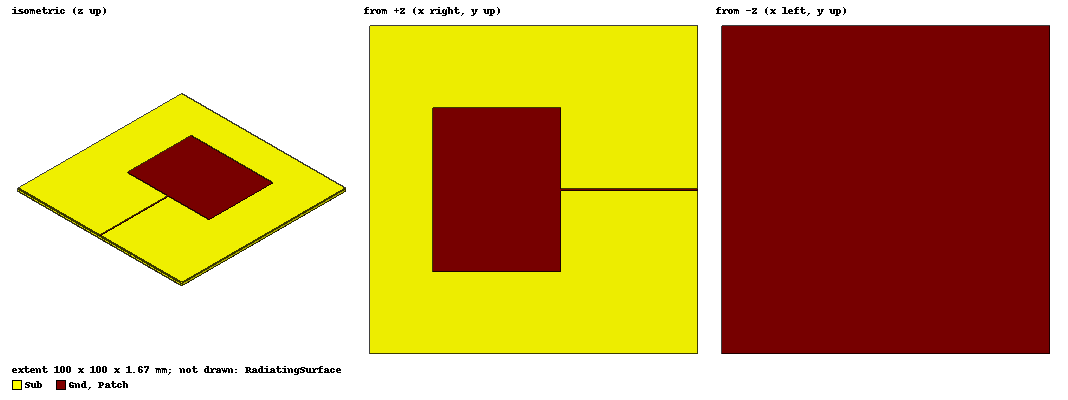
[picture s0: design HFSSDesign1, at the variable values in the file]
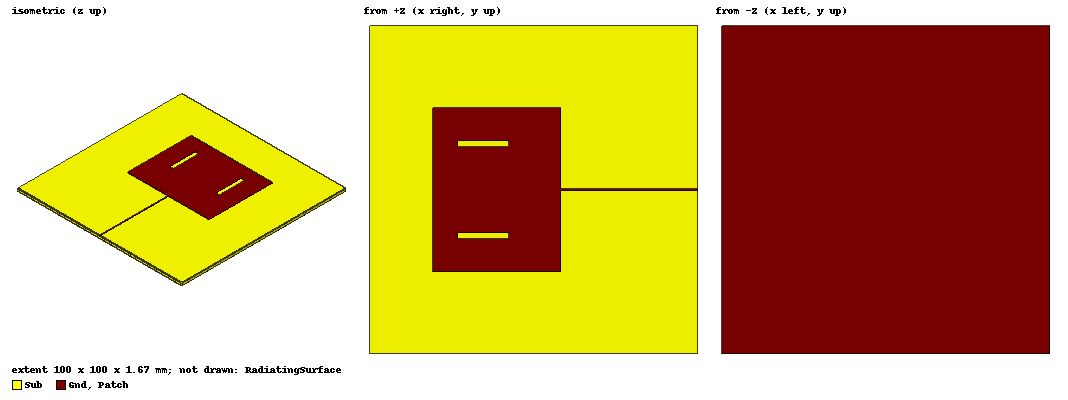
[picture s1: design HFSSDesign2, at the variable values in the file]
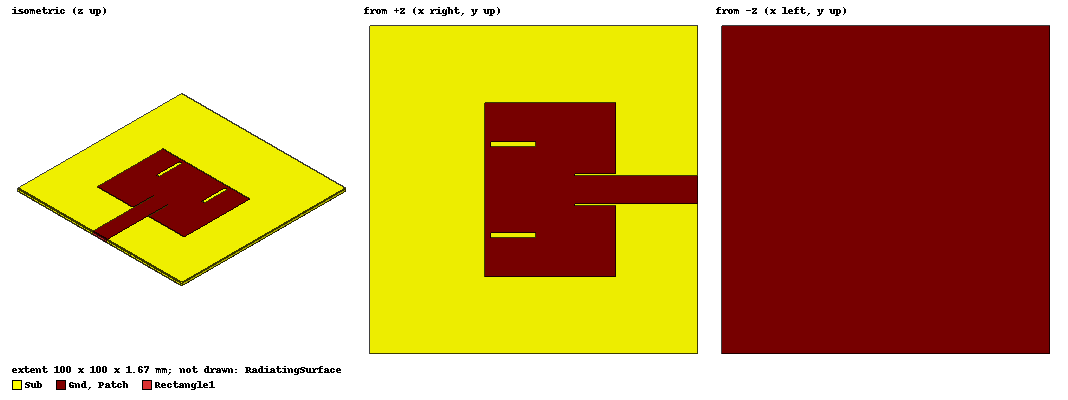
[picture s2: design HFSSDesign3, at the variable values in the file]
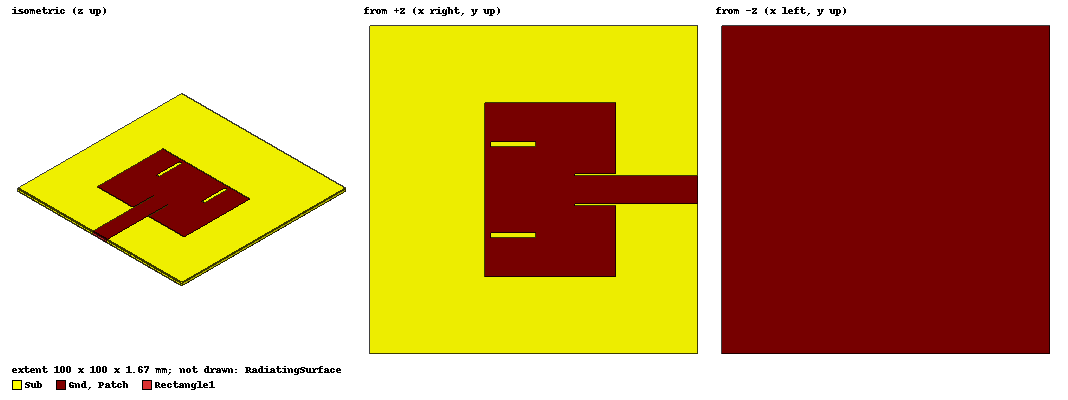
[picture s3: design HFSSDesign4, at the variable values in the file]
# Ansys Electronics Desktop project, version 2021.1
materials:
  vacuum: permittivity=1
  FR4_epoxy: permittivity=4.4 dielectric_loss_tangent=0.02
  copper: permeability=0.999991 conductivity=58000000

design HFSSDesign1 (HFSS, DrivenModal, model units mm)
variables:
  sub_l = 100mm
  sub_w = 100mm
  td = 1.6mm
  lp = 39mm
  wp = 50mm
  tc = 0.035mm
  wf = 0.6mm
  lf = 41.67mm
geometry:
  Sub [FR4_epoxy] = box(corner=(-sub_l/2, -sub_w/2, 0mm), size=(sub_l, sub_w, td))
  Patch [copper] = box(corner=(sub_l/2-lf, -wp/2, td), size=(-lp, wp, tc))
  Feed = box(corner=(sub_l/2, -wf/2, td), size=(-lf, wf, tc))
  Patch.unite(Feed)
  Rectangle1 = rectangle(corner=(sub_l/2, -wf/2, 0mm), y_size=wf, z_size=td)
  Gnd [copper] = box(corner=(-sub_l/2, -sub_w/2, 0mm), size=(sub_l, sub_w, -tc))
  RadiatingSurface [vacuum] = region(absolute_offset=55.555556mm on all sides)
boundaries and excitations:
  Open1: Radiation Objects=RadiatingSurface
  1: Lumped Port Objects=Rectangle1 Modes{Mode1{IntLine{middle of Rectangle1.edge(z opposite corner) -> middle of Rectangle1.edge(z at corner)} CharImp=Zpi}} Impedance=50ohm
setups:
  Setup1: HfssDriven Frequency=1.8GHz MaxDeltaS=0.02 MaximumPasses=10 MinimumPasses=1 MinimumConvergedPasses=1 PercentRefinement=30 BasisOrder=1 PortAccuracy=2
    sweep Sweep: 0.5GHz to 6GHz step 0.1GHz; Type=Fast SaveFields
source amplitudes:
  1:1: 1W 0deg
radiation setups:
  3D: Infinite Sphere Theta=0deg..180deg step 2deg Phi=-180deg..180deg step 2deg
  Elevation: Infinite Sphere Theta=-180deg..180deg step 1deg Phi=0deg..90deg step 90deg
  Azimuth: Infinite Sphere Theta=90deg..90deg step 0deg Phi=-180deg..180deg step 1deg
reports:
  S Parameter Plot 1: dB(S(1,1)) vs Freq on Setup1 : Sweep; markers m1 at 3.4GHz, m2 at 1.7GHz
  Gain Plot 1: dB(GainTotal) vs Phi, Theta on Setup1 : LastAdaptive, 3D [Freq=1.8GHz]

design HFSSDesign2 (HFSS, DrivenModal, model units mm)
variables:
  sub_l = 100mm
  sub_w = 100mm
  td = 1.6mm
  lp = 39mm
  wp = 50mm
  tc = 0.035mm
  wf = 0.6mm  # tune 0.3mm..9mm
  lf = 41.67mm
  slot_l = 15.5mm
  slot_y = 13mm
  slot_w = 2mm
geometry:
  Sub [FR4_epoxy] = box(corner=(-sub_l/2, -sub_w/2, 0mm), size=(sub_l, sub_w, td))
  Patch [copper] = box(corner=(sub_l/2-lf, -wp/2, td), size=(-lp, wp, tc))
  Feed = box(corner=(sub_l/2, -wf/2, td), size=(-lf, wf, tc))
  Patch.unite(Feed)
  Rectangle1 = rectangle(corner=(sub_l/2, -wf/2, 0mm), y_size=wf, z_size=td)
  Gnd [copper] = box(corner=(-sub_l/2, -sub_w/2, 0mm), size=(sub_l, sub_w, -tc))
  RadiatingSurface [vacuum] = region(absolute_offset=55.555556mm on all sides)
  Box1 = box(corner=(-slot_l/2, -slot_y, td), size=(-slot_l, -slot_w, tc))
  Box2 = box(corner=(-slot_l/2, slot_y, td), size=(-slot_l, slot_w, tc))
  Patch.subtract(Box1, Box2)
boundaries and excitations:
  Open1: Radiation Objects=RadiatingSurface
  1: Lumped Port Objects=Rectangle1 Modes{Mode1{IntLine{middle of Rectangle1.edge(z opposite corner) -> middle of Rectangle1.edge(z at corner)} CharImp=Zpi}} Impedance=50ohm
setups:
  Setup1: HfssDriven MultipleAdaptiveFreqsSetup{AdaptAt{Frequency=1.8GHz Delta=0.02} AdaptAt{Frequency=2.4GHz Delta=0.02}} MaximumPasses=10 MinimumPasses=1 MinimumConvergedPasses=1 PercentRefinement=30 BasisOrder=1 PortAccuracy=2
    sweep Sweep: 0.5GHz to 6GHz step 0.1GHz; Type=Fast SaveFields
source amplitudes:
  1:1: 1W 0deg
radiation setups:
  3D: Infinite Sphere Theta=0deg..180deg step 2deg Phi=-180deg..180deg step 2deg
  Elevation: Infinite Sphere Theta=-180deg..180deg step 1deg Phi=0deg..90deg step 90deg
  Azimuth: Infinite Sphere Theta=90deg..90deg step 0deg Phi=-180deg..180deg step 1deg
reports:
  S Parameter Plot 1: dB(S(1,1)) vs Freq on Setup1 : Sweep; markers m1 at 3.3GHz, m2 at 1.7GHz, MX1 at x=0
  S Parameter Plot 2: dB(S(1,1)) vs Freq on Setup1 : Sweep [wf=all]

design HFSSDesign3 (HFSS, DrivenModal, model units mm)
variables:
  sub_l = 100mm
  sub_w = 100mm
  td = 1.6mm
  lp = 40mm
  wp = 53mm
  tc = 0.035mm
  wf = 8.7mm  # tune 0.3mm..9mm
  lf = 25mm  # tune 15mm..45mm
  slot_l = 14mm  # tune 7mm..20mm
  slot_y = 13mm
  slot_w = 1.7mm  # tune 1mm..3mm
  feed_cut = 12.5mm
  feed_w = 0.4mm  # tune 0.2mm..0.6mm
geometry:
  Sub [FR4_epoxy] = box(corner=(-sub_l/2, -sub_w/2, 0mm), size=(sub_l, sub_w, td))
  Patch [copper] = box(corner=(sub_l/2-lf, -wp/2, td), size=(-lp, wp, tc))
  Feed = box(corner=(sub_l/2, -wf/2, td), size=(-lf, wf, tc))
  Patch.unite(Feed)
  Rectangle1 = rectangle(corner=(sub_l/2, -wf/2, 0mm), y_size=wf, z_size=td)
  Gnd [copper] = box(corner=(-sub_l/2, -sub_w/2, 0mm), size=(sub_l, sub_w, -tc))
  RadiatingSurface [vacuum] = region(absolute_offset=55.555556mm on all sides)
  Box1 = box(corner=(sub_l/2-lf-lp+slot_l/8, -slot_y, td), size=(slot_l, -slot_w, tc))
  Box2 = box(corner=(sub_l/2-lf-lp+slot_l/8, slot_y, td), size=(slot_l, slot_w, tc))
  Box3 = box(corner=(sub_l/2-lf, -wf/2, td), size=(-feed_cut, -feed_w, tc))
  Box4 = box(corner=(sub_l/2-lf, wf/2, td), size=(-feed_cut, feed_w, tc))
  Patch.subtract(Box3, Box4)
  Patch.subtract(Box1, Box2)
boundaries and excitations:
  Open1: Radiation Objects=RadiatingSurface
  1: Lumped Port Objects=Rectangle1 Modes{Mode1{IntLine{middle of Rectangle1.edge(z opposite corner) -> middle of Rectangle1.edge(z at corner)} CharImp=Zpi}} Impedance=50ohm
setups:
  Setup1: HfssDriven MultipleAdaptiveFreqsSetup{AdaptAt{Frequency=1.8GHz Delta=0.02} AdaptAt{Frequency=2.4GHz Delta=0.02}} MaximumPasses=10 MinimumPasses=1 MinimumConvergedPasses=1 PercentRefinement=30 BasisOrder=1 PortAccuracy=2
    sweep Sweep: 0.5GHz to 6GHz step 0.1GHz; Type=Fast SaveFields
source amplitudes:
  1:1: 1W 0deg
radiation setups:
  3D: Infinite Sphere Theta=0deg..180deg step 2deg Phi=-180deg..180deg step 2deg
  Elevation: Infinite Sphere Theta=-180deg..180deg step 1deg Phi=0deg..90deg step 90deg
  Azimuth: Infinite Sphere Theta=90deg..90deg step 0deg Phi=-180deg..180deg step 1deg
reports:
  S Parameter Plot 1: dB(S(1,1)) vs Freq on Setup1 : Sweep; markers m1 at 3.3GHz, m2 at 1.7GHz, m3 at 1.8GHz, m4 at 2.3GHz, MX1 at x=0
  Gain Plot 1: dB(GainTotal) vs Phi, Theta on Setup1 : Sweep, 3D [Freq=1.7GHz]
  Gain Plot 2: dB(GainTotal) vs Phi, Theta on Setup1 : Sweep, 3D [Freq=1.8GHz]
  Gain Plot 3: dB(GainTotal) vs Phi, Theta on Setup1 : Sweep, 3D [Freq=2.3GHz]
  S Parameter Plot 2: dB(S(1,1)) vs Freq on Setup1 : Sweep [wf=all lf=all feed_w=all]; markers m1 at 1.8GHz
  S Parameter Plot 3: dB(S(1,1)) vs Freq on Setup1 : Sweep [wf=all lf=all slot_l=all slot_w=all feed_w=all]; markers m1 at 1.8GHz, m2 at 2.4GHz

design HFSSDesign4 (HFSS, DrivenModal, model units mm)
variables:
  sub_l = 100mm
  sub_w = 100mm
  td = 1.6mm
  lp = 40mm
  wp = 53mm
  tc = 0.035mm
  wf = 8.7mm  # tune 0.3mm..9mm
  lf = 25mm  # tune 15mm..45mm
  slot_l = 14mm  # tune 7mm..20mm
  slot_y = 13mm
  slot_w = 1.7mm  # tune 1mm..3mm
  feed_cut = 12.5mm
  feed_w = 0.4mm  # tune 0.2mm..0.6mm
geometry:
  Sub [FR4_epoxy] = box(corner=(-sub_l/2, -sub_w/2, 0mm), size=(sub_l, sub_w, td))
  Patch [copper] = box(corner=(sub_l/2-lf, -wp/2, td), size=(-lp, wp, tc))
  Feed = box(corner=(sub_l/2, -wf/2, td), size=(-lf, wf, tc))
  Patch.unite(Feed)
  Rectangle1 = rectangle(corner=(sub_l/2, -wf/2, 0mm), y_size=wf, z_size=td)
  Gnd [copper] = box(corner=(-sub_l/2, -sub_w/2, 0mm), size=(sub_l, sub_w, -tc))
  RadiatingSurface [vacuum] = region(absolute_offset=55.555556mm on all sides)
  Box1 = box(corner=(sub_l/2-lf-lp+slot_l/8, -slot_y, td), size=(slot_l, -slot_w, tc))
  Box2 = box(corner=(sub_l/2-lf-lp+slot_l/8, slot_y, td), size=(slot_l, slot_w, tc))
  Box3 = box(corner=(sub_l/2-lf, -wf/2, td), size=(-feed_cut, -feed_w, tc))
  Box4 = box(corner=(sub_l/2-lf, wf/2, td), size=(-feed_cut, feed_w, tc))
  Patch.subtract(Box3, Box4)
  Patch.subtract(Box1, Box2)
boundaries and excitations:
  Open1: Radiation Objects=RadiatingSurface
  1: Lumped Port Objects=Rectangle1 Modes{Mode1{IntLine{middle of Rectangle1.edge(z opposite corner) -> middle of Rectangle1.edge(z at corner)} CharImp=Zpi}} Impedance=50ohm
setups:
  Setup1: HfssDriven MultipleAdaptiveFreqsSetup{AdaptAt{Frequency=1.8GHz Delta=0.02} AdaptAt{Frequency=2.4GHz Delta=0.02}} MaximumPasses=10 MinimumPasses=1 MinimumConvergedPasses=1 PercentRefinement=30 BasisOrder=1 PortAccuracy=2
    sweep Sweep: 0.5GHz to 6GHz step 0.1GHz; Type=Fast SaveFields
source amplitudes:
  1:1: 1W 0deg
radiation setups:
  3D: Infinite Sphere Theta=0deg..180deg step 2deg Phi=-180deg..180deg step 2deg
  Elevation: Infinite Sphere Theta=-180deg..180deg step 1deg Phi=0deg..90deg step 90deg
  Azimuth: Infinite Sphere Theta=90deg..90deg step 0deg Phi=-180deg..180deg step 1deg
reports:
  S Parameter Plot 1: dB(S(1,1)) vs Freq on Setup1 : Sweep; markers m1 at 3.3GHz, m2 at 1.7GHz, m3 at 1.8GHz, m4 at 2.3GHz, MX1 at x=0
  Gain Plot 1: dB(GainTotal) vs Phi, Theta on Setup1 : Sweep, 3D [Freq=1.7GHz]
  Gain Plot 2: dB(GainTotal) vs Phi, Theta on Setup1 : Sweep, 3D [Freq=1.8GHz]
  Gain Plot 3: dB(GainTotal) vs Phi, Theta on Setup1 : Sweep, 3D [Freq=2.4GHz]
  S Parameter Plot 2: dB(S(1,1)) vs Freq on Setup1 : Sweep [wf=all lf=all feed_w=all]; markers m1 at 1.8GHz
  S Parameter Plot 3: dB(S(1,1)) vs Freq on Setup1 : Sweep [wf=all lf=all slot_l=all slot_w=all feed_w=all]; markers m1 at 1.8GHz, m2 at 2.4GHz
